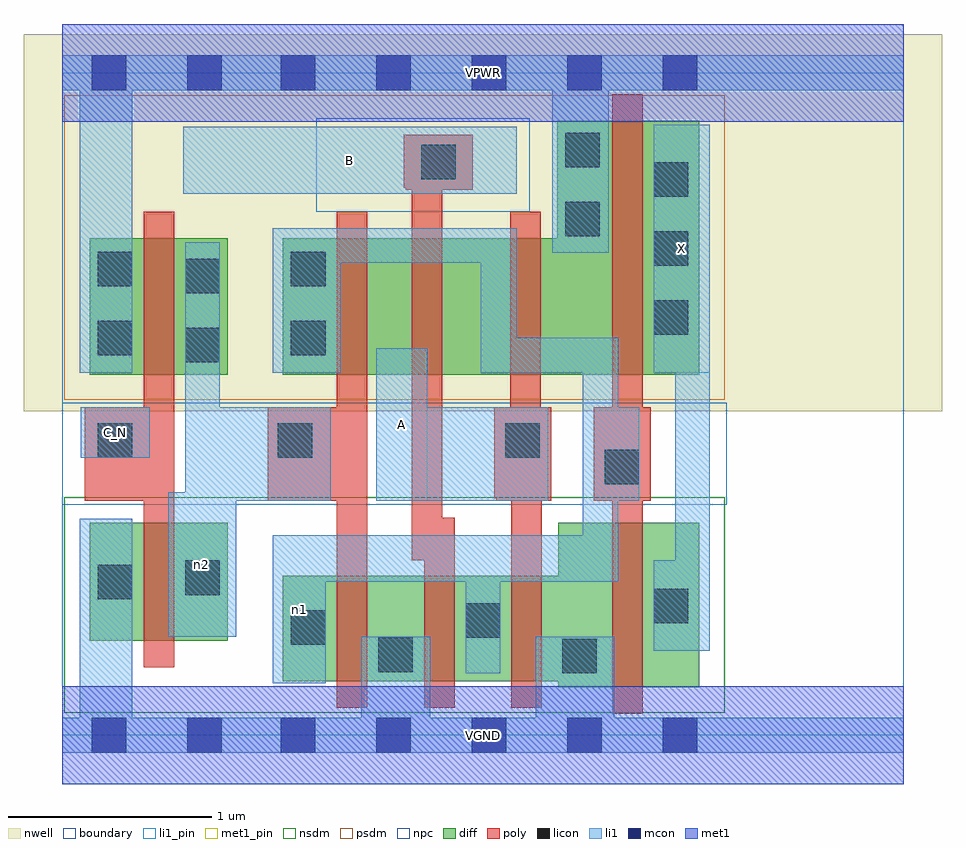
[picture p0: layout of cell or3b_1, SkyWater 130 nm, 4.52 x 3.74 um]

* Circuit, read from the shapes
.subckt or3b_1 A B C_N VGND VPWR X n1 n2
XM1 n2 C_N VGND VSUBS sky130_fd_pr__nfet_01v8 w=0.58 l=0.15
XM2 VGND n2 n1 VSUBS sky130_fd_pr__nfet_01v8 w=0.52 l=0.15
XM3 n1 B VGND VSUBS sky130_fd_pr__nfet_01v8 w=0.52 l=0.15
XM4 VGND A n1 VSUBS sky130_fd_pr__nfet_01v8 w=0.52 l=0.15
XM5 X n1 VGND VSUBS sky130_fd_pr__nfet_01v8 w=0.81 l=0.15
XM6 n2 C_N VPWR n3 sky130_fd_pr__pfet_01v8 w=0.67 l=0.15
XM7 n4 n2 n1 n3 sky130_fd_pr__pfet_01v8 w=0.67 l=0.15
XM8 n5 B n4 n3 sky130_fd_pr__pfet_01v8 w=0.67 l=0.15
XM9 VPWR A n5 n3 sky130_fd_pr__pfet_01v8 w=0.67 l=0.15
XM10 X n1 VPWR n3 sky130_fd_pr__pfet_01v8 w=1.25 l=0.15
.ends

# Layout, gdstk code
import gdstk
lib = gdstk.Library(unit=1e-6, precision=1e-09)
def R(c, l, rs):  # rectangles x0, y0, x1, y1
    for r in rs: c.add(gdstk.rectangle(r[:2], r[2:], *l))
def A(c, l, x, y, w, h, nx, ny, dx, dy):  # array of equal rectangles
    R(c, l, [(x+i*dx, y+j*dy, x+i*dx+w, y+j*dy+h) for i in range(nx) for j in range(ny)])
nwell = (64, 20)
diff = (65, 20)
poly = (66, 20)
licon = (66, 44)
li1_pin = (67, 16)
li1 = (67, 20)
mcon = (67, 44)
met1_pin = (68, 16)
met1 = (68, 20)
nsdm = (93, 44)
psdm = (94, 20)
npc = (95, 20)
boundary = (235, 4)

or3b_1 = lib.new_cell('or3b_1')
R(or3b_1, nwell, [(-0.19,1.595,4.33,3.45), (0,1.595,4.14,3.45)])
R(or3b_1, diff, [(2.44,0.235,3.135,1.045), (1.085,0.265,3.135,0.785), (0.135,0.465,0.815,1.045), (0.135,1.775,0.815,2.445), (1.085,1.775,3.135,2.445), (2.435,1.775,3.135,3.025)])
R(or3b_1, poly, [(2.705,0.105,2.855,3.155), (1.35,0.135,1.5,2.575), (1.78,0.135,1.93,1.07), (2.21,0.135,2.36,1.615), (0.4,0.335,0.55,2.575), (1.72,0.86,1.87,2.955), (0.11,1.155,0.55,1.615), (1.01,1.155,1.5,1.615), (2.135,1.155,2.405,1.615), (2.205,1.155,2.355,2.575), (2.615,1.155,2.895,1.615), (2.125,1.165,2.405,1.615), (1.69,2.685,2.02,2.955), (1.68,2.695,2.02,2.955)])
A(or3b_1, licon, 2.91, 1.97, 0.17, 0.17, 1, 3, 0, 0.34)
R(or3b_1, licon, [(2.46,0.305,2.63,0.475), (1.555,0.31,1.725,0.48), (1.125,0.445,1.295,0.615), (1.985,0.48,2.155,0.65), (2.91,0.55,3.08,0.72), (0.175,0.67,0.345,0.84), (0.605,0.69,0.775,0.86), (2.67,1.235,2.84,1.405), (0.175,1.365,0.345,1.535), (1.06,1.365,1.23,1.535), (2.18,1.365,2.35,1.535), (0.605,1.835,0.775,2.005), (0.175,1.87,0.345,2.04), (1.125,1.87,1.295,2.04), (0.605,2.175,0.775,2.345), (0.175,2.21,0.345,2.38), (1.125,2.21,1.295,2.38), (2.475,2.455,2.645,2.625), (1.765,2.735,1.935,2.905), (2.475,2.795,2.645,2.965)])
R(or3b_1, li1_pin, [(1.545,1.155,1.795,1.905), (0.09,1.365,0.43,1.615), (2.91,1.785,3.185,3.005), (0.595,2.665,2.235,2.995)])
R(or3b_1, li1, [(0,-0.085,4.14,0.085), (0.085,-0.085,0.345,1.065), (1.47,-0.085,1.81,0.485), (2.33,-0.085,2.715,0.485), (1.035,0.255,1.295,0.985), (1.985,0.305,2.155,0.985), (2.91,0.415,3.185,0.86), (3.015,0.415,3.185,3.005), (0.52,0.485,0.855,1.195), (0.605,0.485,0.775,2.425), (0.605,0.485,0.855,1.615), (1.035,0.755,2.735,0.985), (2.56,0.755,2.735,1.955), (0.605,1.155,1.32,1.615), (1.545,1.155,2.39,1.615), (1.545,1.155,1.795,1.905), (2.56,1.155,2.84,1.615), (0.09,1.365,0.43,1.615), (0.085,1.785,0.345,3.345), (1.035,1.785,1.37,2.495), (2.06,1.785,2.735,1.955), (2.06,1.785,2.235,2.495), (2.91,1.785,3.185,3.005), (1.035,2.325,2.235,2.495), (2.41,2.375,2.69,3.345), (0.595,2.665,2.235,2.995), (0,3.175,4.14,3.345)])
A(or3b_1, mcon, 1.075, -0.085, 0.17, 0.17, 5, 2, 0.47, 3.26)
R(or3b_1, mcon, [(0.145,-0.085,0.315,0.085), (0.615,-0.085,0.785,0.085), (0.145,3.175,0.315,3.345), (0.615,3.175,0.785,3.345)])
R(or3b_1, met1_pin, [(0,-0.24,4.14,0.24), (0,3.02,4.14,3.5)])
R(or3b_1, met1, [(0,-0.24,4.14,0.24), (0,3.02,4.14,3.5)])
R(or3b_1, nsdm, [(0.01,0.11,3.26,1.17)])
R(or3b_1, psdm, [(0.01,1.65,3.26,3.15)])
R(or3b_1, npc, [(0,1.135,3.27,1.635), (1.25,2.575,2.3,3.035)])
R(or3b_1, boundary, [(0,0,4.14,3.26)])
or3b_1.add(gdstk.Label('A', (1.67,1.53), layer=67, texttype=5))
or3b_1.add(gdstk.Label('B', (1.415,2.83), layer=67, texttype=5))
or3b_1.add(gdstk.Label('C_N', (0.26,1.49), layer=67, texttype=5))
or3b_1.add(gdstk.Label('X', (3.047,2.395), layer=67, texttype=5))
or3b_1.add(gdstk.Label('n2', (0.687,0.84), layer=67, texttype=5))
or3b_1.add(gdstk.Label('n1', (1.165,0.62), layer=67, texttype=5))
or3b_1.add(gdstk.Label('VPWR', (2.07,3.26), layer=68, texttype=5))
or3b_1.add(gdstk.Label('VGND', (2.07,0), layer=68, texttype=5))
or3b_1.add(gdstk.Label('A', (1.67,1.53), layer=67, texttype=16))
or3b_1.add(gdstk.Label('B', (1.415,2.83), layer=67, texttype=16))
or3b_1.add(gdstk.Label('C_N', (0.26,1.49), layer=67, texttype=16))
or3b_1.add(gdstk.Label('X', (3.047,2.395), layer=67, texttype=16))
or3b_1.add(gdstk.Label('VPWR', (2.07,3.26), layer=68, texttype=16))
or3b_1.add(gdstk.Label('VGND', (2.07,0), layer=68, texttype=16))

lib.write_gds('or3b_1.gds')
